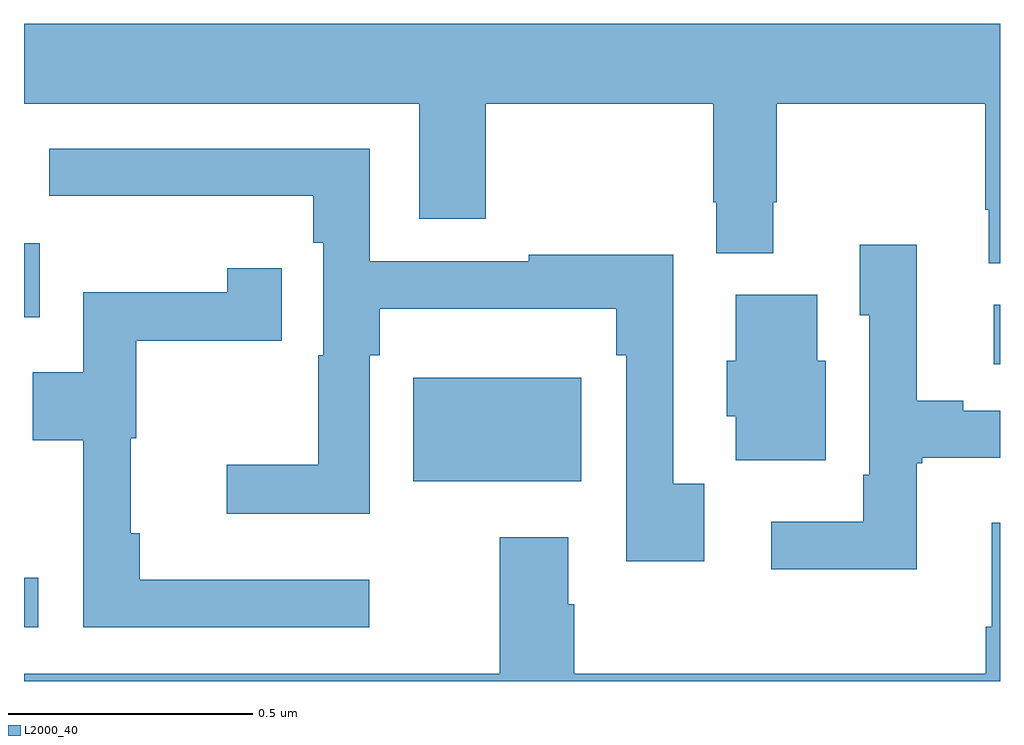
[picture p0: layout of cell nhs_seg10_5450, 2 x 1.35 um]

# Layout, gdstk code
import gdstk
lib = gdstk.Library(unit=1e-6, precision=1e-09)
def R(c, l, rs):  # rectangles x0, y0, x1, y1
    for r in rs: c.add(gdstk.rectangle(r[:2], r[2:], *l))
def P(c, l, *ps):  # polygons
    for p in ps: c.add(gdstk.Polygon(p, *l))
L2000_40 = (2000, 40)

nhs_seg10_5450 = lib.new_cell('nhs_seg10_5450')
R(nhs_seg10_5450, L2000_40, [(179,1264.611,179.029,1264.712), (179.798,1264.91,180.142,1265.122), (180.987,1265.15,181,1265.272), (179,1265.246,179.032,1265.398)])
P(nhs_seg10_5450, L2000_40, [(181,1265.848),(179,1265.848),(179,1265.684),(179.81,1265.684),(179.81,1265.448),(179.946,1265.448),(179.946,1265.684),(180.412,1265.684),(180.412,1265.482),(180.419,1265.482),(180.419,1265.377),(180.535,1265.377),(180.535,1265.482),(180.543,1265.482),(180.543,1265.684),(180.97,1265.684),(180.97,1265.467),(180.977,1265.467),(180.977,1265.357),(181,1265.357)],
  [(180.394,1264.905),(180.33,1264.905),(180.33,1265.374),(180.034,1265.374),(180.034,1265.361),(179.709,1265.361),(179.709,1265.592),(179.052,1265.592),(179.052,1265.495),(179.593,1265.495),(179.593,1265.399),(179.613,1265.399),(179.613,1265.168),(179.603,1265.168),(179.603,1264.944),(179.415,1264.944),(179.415,1264.844),(179.709,1264.844),(179.709,1265.168),(179.729,1265.168),(179.729,1265.264),(180.214,1265.264),(180.214,1265.168),(180.234,1265.168),(180.234,1264.746),(180.394,1264.746)],
  [(180.829,1264.947),(180.841,1264.947),(180.841,1264.958),(181,1264.958),(181,1265.055),(180.925,1265.055),(180.925,1265.075),(180.829,1265.075),(180.829,1265.395),(180.713,1265.395),(180.713,1265.25),(180.732,1265.25),(180.732,1264.924),(180.72,1264.924),(180.72,1264.827),(180.531,1264.827),(180.531,1264.73),(180.829,1264.73)],
  [(179.707,1264.708),(179.237,1264.708),(179.237,1264.804),(179.219,1264.804),(179.219,1264.998),(179.23,1264.998),(179.23,1265.198),(179.528,1265.198),(179.528,1265.347),(179.417,1265.347),(179.417,1265.297),(179.121,1265.297),(179.121,1265.134),(179.018,1265.134),(179.018,1264.994),(179.121,1264.994),(179.121,1264.611),(179.707,1264.611)],
  [(180.643,1265.157),(180.625,1265.157),(180.625,1265.292),(180.458,1265.292),(180.458,1265.157),(180.44,1265.157),(180.44,1265.043),(180.459,1265.043),(180.459,1264.953),(180.643,1264.953)],
  [(181,1264.825),(180.983,1264.825),(180.983,1264.612),(180.971,1264.612),(180.971,1264.516),(180.128,1264.516),(180.128,1264.658),(180.115,1264.658),(180.115,1264.795),(179.975,1264.795),(179.975,1264.516),(179,1264.516),(179,1264.5),(181,1264.5)])

lib.write_gds('nhs_seg10_5450.gds')
